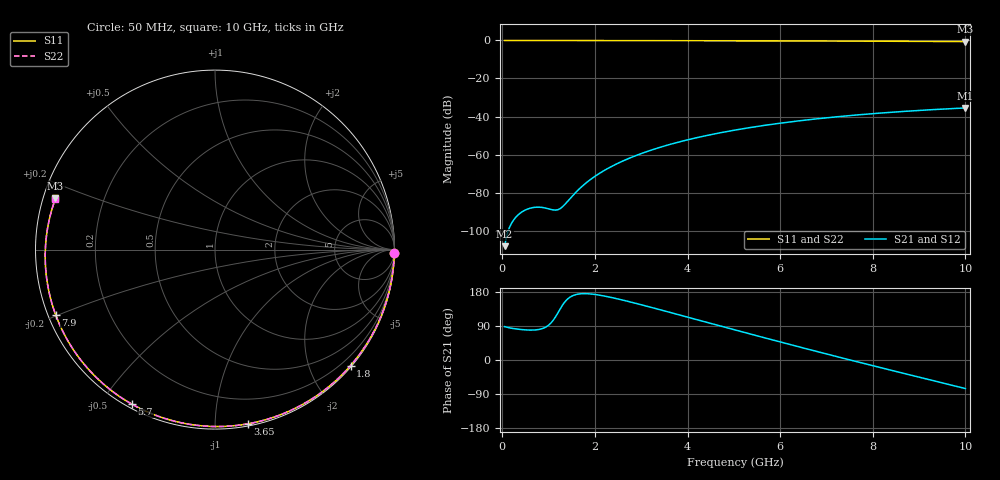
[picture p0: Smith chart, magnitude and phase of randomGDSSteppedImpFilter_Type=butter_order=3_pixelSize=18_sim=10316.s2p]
! freq	dB(S11)	phase(S11)	dB(S12)	phase(S12)
!  dB(S21)	phase(S21)	dB(S22)	phase(S22)
!S-par simulation data
#  GHz  S  DB  R 50
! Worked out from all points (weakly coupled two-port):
!   200 points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, 50 MHz to 10 GHz, reference 50 ohm
!   highest |S21| = -35.50 dB at 10 GHz (marker M1); lowest = -108.2 dB at 50 MHz (marker M2)
!   lowest |S11| = -0.6 dB at 10 GHz (marker M3), VSWR 28.99, Z = 1.77 + j7.81 ohm
!   |S11| at or under -10 dB: nowhere
!   |S22| runs from -0.6 to 0.0 dB; largest |S21 - S12| = 0
!   S11 on the Smith chart (normalised r, x): 50 MHz: open; 1.8 GHz: 0.02, -2.71; 3.65 GHz: 0.01, -1.21; 5.7 GHz: 0.02, -0.60; 7.9 GHz: 0.02, -0.20; 10 GHz: 0.04, +0.16
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0.05  -0.00 -1.1  -108.17 88.1  -108.17 88.1  -0.00 -1.1
0.45  -0.02 -10.3  -89.77 79.9  -89.77 79.9  -0.02 -10.3
0.8  -0.02 -18.3  -87.67 80.8  -87.67 80.8  -0.02 -18.2
1.55  -0.04 -35.0  -80.80 171.1  -80.80 171.1  -0.04 -35.0
1.6  -0.05 -36.1  -79.53 172.9  -79.53 172.9  -0.05 -36.1
1.75  -0.05 -39.4  -76.11 175.1  -76.11 175.1  -0.05 -39.4
1.8  -0.05 -40.5  -75.09 175.1  -75.09 175.1  -0.05 -40.5
2.1  -0.06 -47.0  -69.86 171.1  -69.86 171.1  -0.06 -47.0
2.45  -0.07 -54.5  -65.14 162.4  -65.14 162.4  -0.07 -54.5
2.9  -0.08 -64.0  -60.39 149.0  -60.39 149.0  -0.08 -64.0
3.4  -0.10 -74.2  -56.23 132.9  -56.23 132.9  -0.10 -74.2
3.65  -0.11 -79.2  -54.47 124.7  -54.47 124.7  -0.11 -79.2
4.35  -0.13 -93.0  -50.31 101.6  -50.31 101.6  -0.13 -92.9
5.05  -0.16 -106.2  -47.02 78.5  -47.02 78.5  -0.16 -106.2
5.7  -0.20 -118.2  -44.52 57.4  -44.52 57.4  -0.20 -118.2
6.7  -0.26 -136.3  -41.45 25.4  -41.45 25.4  -0.26 -136.2
7.3  -0.31 -147.0  -39.96 6.6  -39.96 6.6  -0.31 -147.0
7.9  -0.36 -157.8  -38.69 -12.0  -38.69 -12.0  -0.36 -157.8
8.35  -0.41 -166.0  -37.85 -25.7  -37.85 -25.7  -0.41 -166.0
8.8  -0.46 -174.4  -37.10 -39.3  -37.10 -39.3  -0.46 -174.3
9.2  -0.50 178.0  -36.51 -51.3  -36.51 -51.3  -0.50 178.1
10  -0.60 162.2  -35.50 -75.4  -35.50 -75.4  -0.60 162.3
